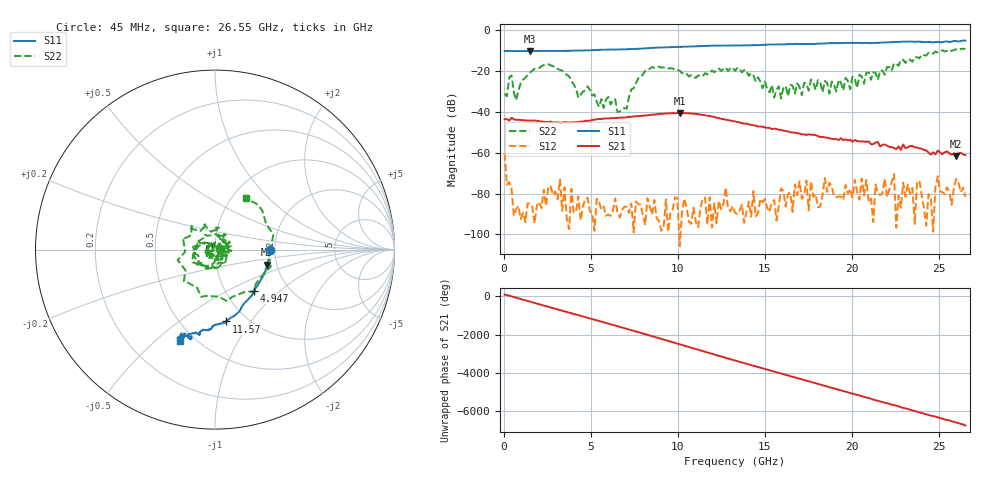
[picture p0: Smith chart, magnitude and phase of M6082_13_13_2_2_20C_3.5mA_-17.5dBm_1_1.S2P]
!  2-Port S-parameters saved by WinCal
! VAR MeasName=S-Parameters (CALIBRATED_DATA) read from VNA (C)
! VAR MeasDate=10/16/2015 10:55:14 AM
! VAR NAME=M6082_13_13_2_2_20C_3.5mA_-17.5dBm
! VAR FILENAME=M6082_13_13_2_2_20C_3.5mA_-17.5dBm_1_1.S2P
! VAR DATE=10/16/2015 10:55:14 AM
! VAR PHYS_PORTS=2,1
! VAR ObjTypeName=DATASET
! VAR IndexType=Frequency
# Hz S RI R 50
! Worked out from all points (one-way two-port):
!   201 points, 45 MHz to 26.55 GHz, reference 50 ohm
!   highest |S21| = -40.64 dB at 10.12 GHz (marker M1); lowest = -61.7 dB at 26.02 GHz (marker M2)
!   lowest |S11| = -10.4 dB at 1.502 GHz (marker M3), VSWR 1.86, Z = 88.9 - j16.4 ohm
!   |S11| at or under -10 dB: start of sweep to 4.942 GHz
!   |S22| runs from -40.2 to -9.2 dB; largest |S21 - S12| = 0.0093
!   S11 on the Smith chart (normalised r, x): 45 MHz: 1.87, -0.01; 4.947 GHz: 1.36, -0.69; 11.57 GHz: 0.80, -0.77; 26.55 GHz: 0.42, -0.60
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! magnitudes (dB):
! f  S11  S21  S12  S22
! 45 MHz  -10.3  -43.7  -60.5  -31.1
! 177.5 MHz  -10.3  -43.6  -75.8  -32.5
! 310 MHz  -10.3  -44.4  -74.3  -23.3
! 707.5 MHz  -10.4  -44.0  -87.6  -34.4
! 1.502 GHz  -10.4  -44.3  -84.9  -20.8
! 2.562 GHz  -10.3  -45.0  -76.4  -16.8
! 4.55 GHz  -10.1  -44.8  -86.0  -30.2
! 4.947 GHz  -10.0  -44.4  -88.8  -29.3
! 6.67 GHz  -9.5  -42.9  -91.7  -39.9
! 8.922 GHz  -8.7  -41.1  -93.3  -18.0
! 10.12 GHz  -8.3  -40.6  -105.7  -19.9
! 11.57 GHz  -7.8  -41.8  -82.0  -21.1
! 13.29 GHz  -7.6  -44.7  -89.3  -20.0
! 15.95 GHz  -7.1  -48.8  -77.4  -33.6
! 17.8 GHz  -6.9  -51.2  -81.6  -25.7
! 18.46 GHz  -6.6  -52.6  -72.4  -25.0
! 20.32 GHz  -6.4  -54.3  -79.3  -28.4
! 22.17 GHz  -6.1  -57.2  -77.8  -18.2
! 22.44 GHz  -5.9  -57.7  -70.5  -16.4
! 22.57 GHz  -5.9  -58.3  -96.7  -16.6
! 26.02 GHz  -5.5  -61.7  -72.8  -9.5
! 26.55 GHz  -5.3  -61.2  -81.6  -9.5
